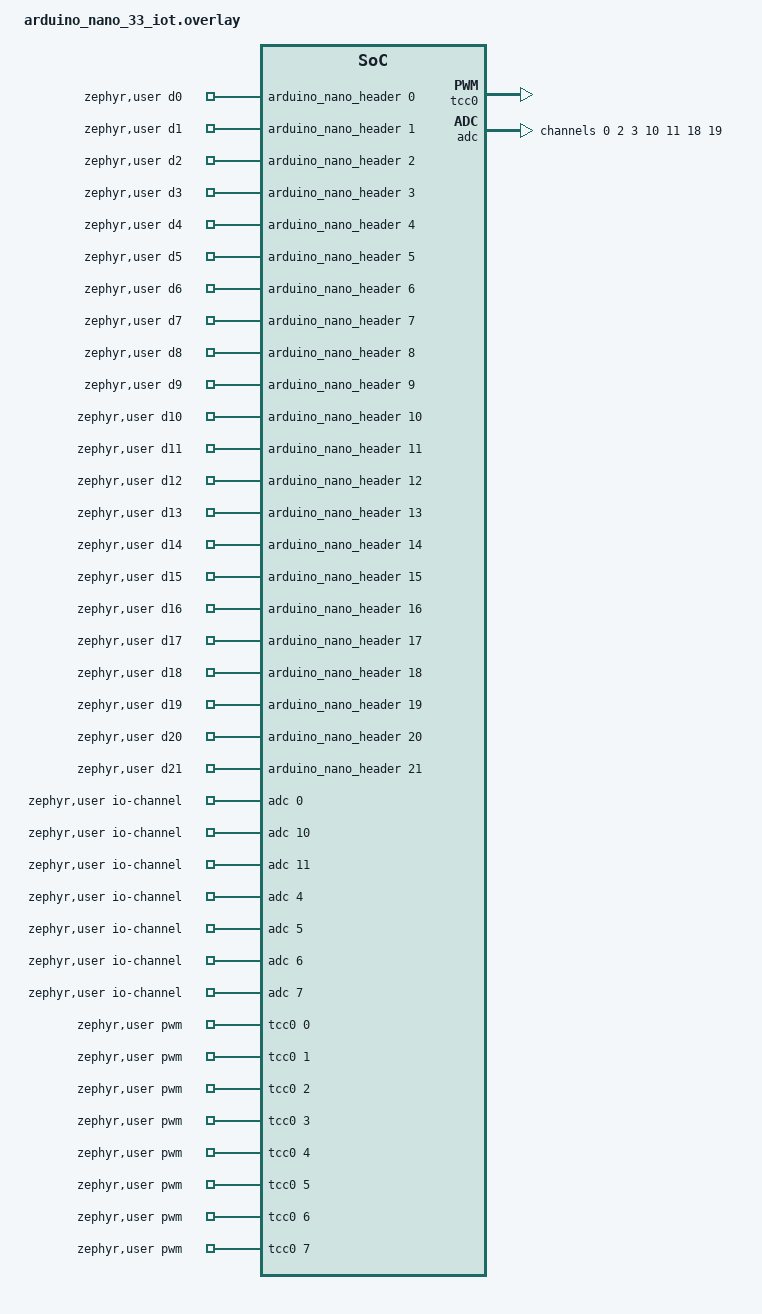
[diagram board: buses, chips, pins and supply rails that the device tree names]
#include <zephyr/dt-bindings/adc/adc.h>

/ {
	zephyr,user {
		d0_gpios = <&arduino_nano_header 0 0>;
		d1_gpios = <&arduino_nano_header 1 0>;
		d2_gpios = <&arduino_nano_header 2 0>;
		d3_gpios = <&arduino_nano_header 3 0>;
		d4_gpios = <&arduino_nano_header 4 0>;
		d5_gpios = <&arduino_nano_header 5 0>;
		d6_gpios = <&arduino_nano_header 6 0>;
		d7_gpios = <&arduino_nano_header 7 0>;
		d8_gpios = <&arduino_nano_header 8 0>;
		d9_gpios = <&arduino_nano_header 9 0>;
		d10_gpios = <&arduino_nano_header 10 0>;
		d11_gpios = <&arduino_nano_header 11 0>;
		d12_gpios = <&arduino_nano_header 12 0>;
		d13_gpios = <&arduino_nano_header 13 0>;
		d14_gpios = <&arduino_nano_header 14 0>; /* D14 / A0 */
		d15_gpios = <&arduino_nano_header 15 0>;
		d16_gpios = <&arduino_nano_header 16 0>;
		d17_gpios = <&arduino_nano_header 17 0>;
		d18_gpios = <&arduino_nano_header 18 0>; /* D18 / A4 / I2C-SDA */
		d19_gpios = <&arduino_nano_header 19 0>; /* D19 / A5 / I2C-SCL */
		d20_gpios = <&arduino_nano_header 20 0>;
		d21_gpios = <&arduino_nano_header 21 0>;

		pwms =	<&tcc0 0 255>,
			<&tcc0 1 255>,
			<&tcc0 2 255>,
			<&tcc0 3 255>,
			<&tcc0 4 255>,
			<&tcc0 5 255>,
			<&tcc0 6 255>,
			<&tcc0 7 255>;
		pwm-pins = <6 5 17 12 2 3 9 10>;

		io-channels =	<&adc 0>,
				<&adc 10>,
				<&adc 11>,
				<&adc 4>,
				<&adc 5>,
				<&adc 6>,
				<&adc 7>;
		io-channel-pins = <14 15 16 17 18 19 20 21>;

		serials = <&sercom5>;
		i2cs = <&arduino_nano_i2c>;
	};
};

&pinctrl {
	pwm_default: pwm_default {
		group1 {
			pinmux = <PA4E_TCC0_WO0>,
				 <PA5E_TCC0_WO1>,
				 <PA10F_TCC0_WO2>,
				 <PA19F_TCC0_WO3>,
				 <PB10F_TCC0_WO4>,
				 <PB11F_TCC0_WO5>,
				 <PA20F_TCC0_WO6>,
				 <PA21F_TCC0_WO7>;
		};
	};

	adc_default: adc_default {
		group1 {
			pinmux = <PA2B_ADC_AIN0>,
				 <PB2B_ADC_AIN10>,
				 <PA11B_ADC_AIN19>,
				 <PA10B_ADC_AIN18>,
				 <PB8B_ADC_AIN2>,
				 <PB9B_ADC_AIN3>,
				 <PA9B_ADC_AIN17>,
				 <PB3B_ADC_AIN11>;
		};
	};
};

&tcc0 {
	status = "okay";
	compatible = "atmel,sam0-tcc-pwm";
	prescaler = <2>;
	#pwm-cells = <2>;

	pinctrl-0 = <&pwm_default>;
	pinctrl-names = "default";
};

&adc {
	status = "okay";
	pinctrl-0 = <&adc_default>;
	pinctrl-names = "default";

	#address-cells = <1>;
	#size-cells = <0>;

	channel@0 {
		reg = <0x0>;
		zephyr,gain = "ADC_GAIN_1";
		zephyr,reference = "ADC_REF_INTERNAL";
		zephyr,acquisition-time = <ADC_ACQ_TIME_DEFAULT>;
		zephyr,resolution = <10>;
		zephyr,input-positive = <0>;
	};

	channel@2 {
		reg = <0x2>;
		zephyr,gain = "ADC_GAIN_1";
		zephyr,reference = "ADC_REF_INTERNAL";
		zephyr,acquisition-time = <ADC_ACQ_TIME_DEFAULT>;
		zephyr,resolution = <10>;
		zephyr,input-positive = <2>;
	};

	channel@3 {
		reg = <0x3>;
		zephyr,gain = "ADC_GAIN_1";
		zephyr,reference = "ADC_REF_INTERNAL";
		zephyr,acquisition-time = <ADC_ACQ_TIME_DEFAULT>;
		zephyr,resolution = <10>;
		zephyr,input-positive = <3>;
	};

	channel@a {
		reg = <0xa>;
		zephyr,gain = "ADC_GAIN_1";
		zephyr,reference = "ADC_REF_INTERNAL";
		zephyr,acquisition-time = <ADC_ACQ_TIME_DEFAULT>;
		zephyr,resolution = <10>;
		zephyr,input-positive = <10>;
	};

	channel@b {
		reg = <0xb>;
		zephyr,gain = "ADC_GAIN_1";
		zephyr,reference = "ADC_REF_INTERNAL";
		zephyr,acquisition-time = <ADC_ACQ_TIME_DEFAULT>;
		zephyr,resolution = <10>;
		zephyr,input-positive = <11>;
	};

	channel@12 {
		reg = <0x12>;
		zephyr,gain = "ADC_GAIN_1";
		zephyr,reference = "ADC_REF_INTERNAL";
		zephyr,acquisition-time = <ADC_ACQ_TIME_DEFAULT>;
		zephyr,resolution = <10>;
		zephyr,input-positive = <18>;
	};

	channel@13 {
		reg = <0x13>;
		zephyr,gain = "ADC_GAIN_1";
		zephyr,reference = "ADC_REF_INTERNAL";
		zephyr,acquisition-time = <ADC_ACQ_TIME_DEFAULT>;
		zephyr,resolution = <10>;
		zephyr,input-positive = <19>;
	};
};
